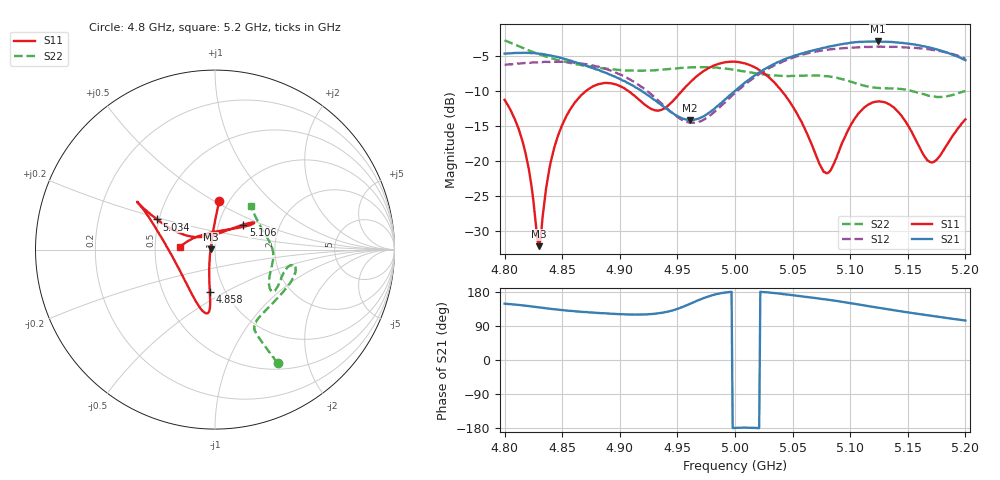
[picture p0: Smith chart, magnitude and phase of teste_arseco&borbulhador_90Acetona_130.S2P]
! Network Analyzer HP8722D
! Hewlett-Packard
! Data name: Linha & Wilkinson
! Saver's name: Rodrigo Anjos
! Comments: Teste da utilização de aquisição
! continua pelo VNA HP8722D
! Time and date: 17/4/2025 12:08
!  Frequency  S11  S21  S12  S22
# HZ  S  MA R 50
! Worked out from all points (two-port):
!   401 points, 4.8 GHz to 5.2 GHz, reference 50 ohm
!   highest |S21| = -2.98 dB at 5.124 GHz (marker M1); lowest = -14.2 dB at 4.961 GHz (marker M2)
!   |S21| within 3 dB of the highest: start of sweep to 4.862 GHz; 5.037 GHz to end of sweep
!   lowest |S11| = -32.2 dB at 4.83 GHz (marker M3), VSWR 1.05, Z = 47.6 + j0.0564 ohm
!   |S11| at or under -10 dB: start of sweep to 4.871 GHz; 4.907 GHz to 4.954 GHz (47.24 MHz wide, 0.958 % of centre); 5.04 GHz to end of sweep
!   |S22| runs from -10.9 to -2.8 dB; largest |S21 - S12| = 1.3
!   S11 on the Smith chart (normalised r, x): 4.8 GHz: 0.90, +0.53; 4.858 GHz: 0.85, -0.43; 5.034 GHz: 0.49, +0.19; 5.106 GHz: 1.31, +0.38; 5.2 GHz: 0.67, +0.02
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4.8e9  0.2716 85.1  0.5805 148.6  0.4831 -112.6  0.7209 -61.1
4.817e9  0.1238 93.1  0.589 143.4  0.4966 -112.2  0.6315 -62.3
4.823e9  0.06885 103.6  0.5852 141.4  0.5005 -111.7  0.6038 -62.6
4.828e9  0.02999 139.3  0.5827 139.5  0.503 -111.6  0.5823 -63.1
4.83e9  0.02455 178.6  0.5793 138.8  0.5052 -111.3  0.5743 -63.1
4.842e9  0.1148 -106.6  0.5579 134.4  0.5075 -111.0  0.5345 -63.7
4.858e9  0.2394 -96.8  0.5156 129.3  0.5023 -110.9  0.4957 -63.7
4.867e9  0.296 -95.3  0.4869 127.0  0.4926 -111.2  0.4808 -62.9
4.898e9  0.3467 -101.9  0.39 121.3  0.4194 -114.7  0.4451 -54.0
4.934e9  0.2284 -155.6  0.257 123.3  0.2666 -115.0  0.4443 -33.7
4.961e9  0.3623 158.7  0.1943 148.2  0.1868 -89.0  0.4638 -19.9
5e9  0.509 148.5  0.3148 -179.4  0.3046 -49.6  0.4439 -11.3
5.034e9  0.3629 152.5  0.49 176.6  0.4784 -46.0  0.4055 -17.5
5.051e9  0.2377 155.0  0.5583 170.6  0.546 -47.4  0.4025 -24.8
5.067e9  0.1282 147.0  0.6107 164.6  0.5945 -49.8  0.4048 -31.7
5.075e9  0.08919 125.4  0.6338 161.3  0.6095 -51.3  0.4034 -34.3
5.081e9  0.08208 96.8  0.6503 158.9  0.6198 -52.4  0.4006 -35.6
5.106e9  0.2103 41.4  0.7019 147.1  0.643 -58.4  0.3538 -31.9
5.124e9  0.2643 34.6  0.7095 138.2  0.6517 -63.7  0.3304 -18.8
5.134e9  0.2522 34.2  0.7021 133.3  0.6487 -67.2  0.3282 -10.9
5.17e9  0.09752 98.8  0.6378 116.6  0.6216 -79.7  0.2896 19.8
5.2e9  0.1971 175.6  0.5213 104.2  0.5342 -89.6  0.3143 50.3
